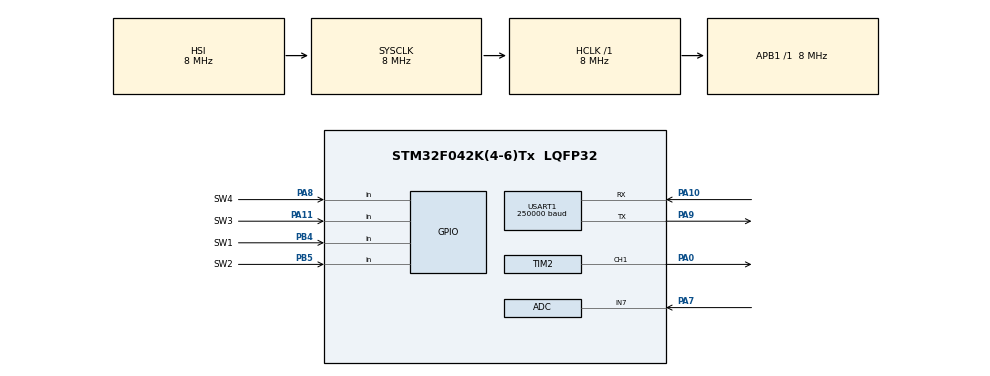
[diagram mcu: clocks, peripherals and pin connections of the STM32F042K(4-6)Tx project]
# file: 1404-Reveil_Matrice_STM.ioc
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ADC.Resolution=ADC_RESOLUTION_8B
Dma.Request0=TIM2_CH1
Dma.Request1=USART1_TX
Dma.TIM2_CH1.0.Direction=DMA_MEMORY_TO_PERIPH
Dma.TIM2_CH1.0.Instance=DMA1_Channel5
Dma.TIM2_CH1.0.MemDataAlignment=DMA_MDATAALIGN_BYTE
Dma.TIM2_CH1.0.MemInc=DMA_MINC_ENABLE
Dma.TIM2_CH1.0.Mode=DMA_CIRCULAR
Dma.TIM2_CH1.0.PeriphDataAlignment=DMA_PDATAALIGN_WORD
Dma.TIM2_CH1.0.PeriphInc=DMA_PINC_DISABLE
Dma.TIM2_CH1.0.Priority=DMA_PRIORITY_HIGH
Dma.USART1_TX.1.Direction=DMA_MEMORY_TO_PERIPH
Dma.USART1_TX.1.Instance=DMA1_Channel2
Dma.USART1_TX.1.MemDataAlignment=DMA_MDATAALIGN_BYTE
Dma.USART1_TX.1.MemInc=DMA_MINC_ENABLE
Dma.USART1_TX.1.Mode=DMA_NORMAL
Dma.USART1_TX.1.PeriphDataAlignment=DMA_PDATAALIGN_BYTE
Dma.USART1_TX.1.PeriphInc=DMA_PINC_DISABLE
Dma.USART1_TX.1.Priority=DMA_PRIORITY_VERY_HIGH
Mcu.Family=STM32F0
Mcu.Name=STM32F042K(4-6)Tx
Mcu.Package=LQFP32
NVIC.DMA1_Channel2_3_IRQn=true\:0\:0\:false\:false\:true\:false\:true\:true
NVIC.DMA1_Channel4_5_IRQn=true\:0\:0\:false\:false\:true\:false\:true\:true
NVIC.USART1_IRQn=true\:0\:0\:false\:false\:true\:true\:true\:true
PA0.Signal=S_TIM2_CH1_ETR
PA10.Mode=Asynchronous
PA10.Signal=USART1_RX
PA11.GPIO_Label=SW3
PA11.Signal=GPIO_Input
PA13.GPIO_Label=SWDIO
PA13.Mode=Serial_Wire
PA13.Signal=SYS_SWDIO
PA14.GPIO_Label=SWCLK
PA14.Mode=Serial_Wire
PA14.Signal=SYS_SWCLK
PA7.Mode=IN7
PA7.Signal=ADC_IN7
PA8.GPIO_Label=SW4
PA8.Signal=GPIO_Input
PA9.Mode=Asynchronous
PA9.Signal=USART1_TX
PB4.GPIO_Label=SW1
PB4.Signal=GPIO_Input
PB5.GPIO_Label=SW2
PB5.Signal=GPIO_Input
PF0-OSC_IN.GPIO_Label=MCO
PF0-OSC_IN.Mode=HSE-External-Clock-Source
PF0-OSC_IN.Signal=RCC_OSC_IN
ProjectManager.HeapSize=0x200
ProjectManager.StackSize=0x400
ProjectManager.TargetToolchain=STM32CubeIDE
RCC.AHBFreq_Value=8000000
RCC.APB1Freq_Value=8000000
RCC.APB1TimFreq_Value=8000000
RCC.HCLKFreq_Value=8000000
RCC.SYSCLKFreq_VALUE=8000000
SH.S_TIM2_CH1_ETR.0=TIM2_CH1,PWM Generation1 CH1
TIM2.Channel-PWM\ Generation1\ CH1=TIM_CHANNEL_1
TIM2.Period=10-1
USART1.BaudRate=250000
USART1.VirtualMode-Asynchronous=VM_ASYNC
VP_TIM2_VS_ClockSourceINT.Mode=Internal
board=NUCLEO-F042K6

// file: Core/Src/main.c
/* USER CODE BEGIN Header */
/**
  ******************************************************************************
  * @file           : main.c
  * @brief          : Main program body
  * @by				: Alberto Lopes
  ******************************************************************************
  * @attention
  *
  * Copyright (c) 2023 STMicroelectronics.
  * All rights reserved.
  *
  * This software is licensed under terms that can be found in the LICENSE file
  * in the root directory of this software component.
  * If no LICENSE file comes with this software, it is provided AS-IS.
  *
  ******************************************************************************
  */
/* USER CODE END Header */
#include "main.h"

ADC_HandleTypeDef hadc;

TIM_HandleTypeDef htim2;
DMA_HandleTypeDef hdma_tim2_ch1;

UART_HandleTypeDef huart1;
DMA_HandleTypeDef hdma_usart1_tx;

void SystemClock_Config(void);
static void MX_GPIO_Init(void);
static void MX_DMA_Init(void);
static void MX_TIM2_Init(void);
static void MX_USART1_UART_Init(void);
static void MX_ADC_Init(void);

/* USER CODE BEGIN 0 */
uint8_t angle = 0;
static uint8_t Heures_brt = 0;
static uint8_t Heures_U = 0;
static uint8_t Heures_D = 0;
static uint8_t Minutes_brt = 0;
static uint8_t Minutes_U = 0;
static uint8_t Minutes_D = 0;
uint8_t Cli = 0;

uint8_t interrupteur1_OLD = 0;
uint8_t interrupteur2_OLD = 0;
uint8_t interrupteur3_OLD = 0;
uint8_t interrupteur4_OLD = 0;

static uint8_t Rx_data[19];

uint16_t step = 0;

uint16_t ReadADC = 0;

bool needMeasure=false;

/* USER CODE END 0 */

int main(void)
{

  /* MCU Configuration--------------------------------------------------------*/

  /* Reset of all peripherals, Initializes the Flash interface and the Systick. */
  HAL_Init();

  /* Configure the system clock */
  SystemClock_Config();

  /* Initialize all configured peripherals */
  MX_GPIO_Init();
  MX_DMA_Init();
  MX_TIM2_Init();
  MX_USART1_UART_Init();
  MX_ADC_Init();
  /* USER CODE BEGIN 2 */
  ws2812_start();
  HAL_UART_Receive_IT(&huart1, Rx_data, 19);
  //HAL_ADC_Calibration_Start(&hadc);

  uint8_t H =0;
  uint8_t facteurLuminosite=255;

  // Déclarez une instance de Canvas
  Canvas myCanvas;
  Canvas blackCanvas;
  // Initialisez la structure Canvas
  myCanvas.numCols = NUM_COLS;
  myCanvas.numRows = NUM_ROWS;
  // Allouez de la mémoire pour les pixels
  myCanvas.pixels = malloc(sizeof(Pixel) * NUM_COLS * NUM_ROWS);
  // Utilisez memset pour initialiser le tableau à zéro
  memset(myCanvas.pixels, 0, sizeof(Pixel) * NUM_COLS * NUM_ROWS);

  blackCanvas.numCols = NUM_COLS;
    blackCanvas.numRows = NUM_ROWS;
    // Allouez de la mémoire pour les pixels
    blackCanvas.pixels = malloc(sizeof(Pixel) * NUM_COLS * NUM_ROWS);
    // Utilisez memset pour initialiser le tableau à zéro
    memset(blackCanvas.pixels, 0, sizeof(Pixel) * NUM_COLS * NUM_ROWS);
  // Vous pouvez maintenant utiliser myCanvas et les pixels initialisé
  setCanvasColor(&blackCanvas, (Pixel){0,0,0});
  /* USER CODE END 2 */

  /* Infinite loop */
  while (1)
  {

    /* USER CODE BEGIN 3 */
//	  HAL_ADC_PollForConversion(&hadc, HAL_MAX_DELAY);
//
//	  ReadADC = HAL_ADC_GetValue(&hadc);

	  if(HAL_UART_Receive_IT(&huart1, Rx_data, 19) != HAL_BUSY)
	  {
		  HAL_UART_Receive_IT(&huart1, Rx_data, 19);
	  }

	  /**********Measure***************/
	  if(needMeasure){
		  facteurLuminosite = flashReadADC(&myCanvas) + LUM_CAL_OFFSET;
		  needMeasure = false;
	  }

	  /**********Background***************/

	  for(uint8_t diag=1; diag<=23; diag++){
		  colorDiagonal(&myCanvas, HSVtoPixel((RB_SPEED*H + (diag* 255 / 23))%255 , (facteurLuminosite*RB_MAX_LUX)/255), diag);
	  }

	  displayBCD(&myCanvas, 2, 3, Heures_D, 2, facteurLuminosite);
	  displayBCD(&myCanvas, 5, 3, Heures_U, 4, facteurLuminosite);
	  displayBCD(&myCanvas, 10, 3, Minutes_D, 4, facteurLuminosite);
	  displayBCD(&myCanvas, 15, 3, Minutes_U, 4, facteurLuminosite);

	  sendCanvas(&myCanvas);

	  H++;
	  if(!((RB_SPEED*H)%255)){
		  H=0;
	  }
  }
  /* USER CODE END 3 */
}

void SystemClock_Config(void)
{
  RCC_OscInitTypeDef RCC_OscInitStruct = {0};
  RCC_ClkInitTypeDef RCC_ClkInitStruct = {0};
  RCC_PeriphCLKInitTypeDef PeriphClkInit = {0};

  /** Initializes the RCC Oscillators according to the specified parameters
  * in the RCC_OscInitTypeDef structure.
  */
  RCC_OscInitStruct.OscillatorType = RCC_OSCILLATORTYPE_HSI|RCC_OSCILLATORTYPE_HSI14;
  RCC_OscInitStruct.HSIState = RCC_HSI_ON;
  RCC_OscInitStruct.HSI14State = RCC_HSI14_ON;
  RCC_OscInitStruct.HSICalibrationValue = RCC_HSICALIBRATION_DEFAULT;
  RCC_OscInitStruct.HSI14CalibrationValue = 16;
  RCC_OscInitStruct.PLL.PLLState = RCC_PLL_NONE;
  if (HAL_RCC_OscConfig(&RCC_OscInitStruct) != HAL_OK)
  {
    Error_Handler();
  }

  /** Initializes the CPU, AHB and APB buses clocks
  */
  RCC_ClkInitStruct.ClockType = RCC_CLOCKTYPE_HCLK|RCC_CLOCKTYPE_SYSCLK
                              |RCC_CLOCKTYPE_PCLK1;
  RCC_ClkInitStruct.SYSCLKSource = RCC_SYSCLKSOURCE_HSI;
  RCC_ClkInitStruct.AHBCLKDivider = RCC_SYSCLK_DIV1;
  RCC_ClkInitStruct.APB1CLKDivider = RCC_HCLK_DIV1;

  if (HAL_RCC_ClockConfig(&RCC_ClkInitStruct, FLASH_LATENCY_0) != HAL_OK)
  {
    Error_Handler();
  }
  PeriphClkInit.PeriphClockSelection = RCC_PERIPHCLK_USART1;
  PeriphClkInit.Usart1ClockSelection = RCC_USART1CLKSOURCE_PCLK1;
  if (HAL_RCCEx_PeriphCLKConfig(&PeriphClkInit) != HAL_OK)
  {
    Error_Handler();
  }
}

static void MX_ADC_Init(void)
{

  ADC_ChannelConfTypeDef sConfig = {0};

  /** Configure the global features of the ADC (Clock, Resolution, Data Alignment and number of conversion)
  */
  hadc.Instance = ADC1;
  hadc.Init.ClockPrescaler = ADC_CLOCK_ASYNC_DIV1;
  hadc.Init.Resolution = ADC_RESOLUTION_8B;
  hadc.Init.DataAlign = ADC_DATAALIGN_RIGHT;
  hadc.Init.ScanConvMode = ADC_SCAN_DIRECTION_FORWARD;
  hadc.Init.EOCSelection = ADC_EOC_SINGLE_CONV;
  hadc.Init.LowPowerAutoWait = DISABLE;
  hadc.Init.LowPowerAutoPowerOff = DISABLE;
  hadc.Init.ContinuousConvMode = DISABLE;
  hadc.Init.DiscontinuousConvMode = DISABLE;
  hadc.Init.ExternalTrigConv = ADC_SOFTWARE_START;
  hadc.Init.ExternalTrigConvEdge = ADC_EXTERNALTRIGCONVEDGE_NONE;
  hadc.Init.DMAContinuousRequests = DISABLE;
  hadc.Init.Overrun = ADC_OVR_DATA_PRESERVED;
  if (HAL_ADC_Init(&hadc) != HAL_OK)
  {
    Error_Handler();
  }

  /** Configure for the selected ADC regular channel to be converted.
  */
  sConfig.Channel = ADC_CHANNEL_7;
  sConfig.Rank = ADC_RANK_CHANNEL_NUMBER;
  sConfig.SamplingTime = ADC_SAMPLETIME_1CYCLE_5;
  if (HAL_ADC_ConfigChannel(&hadc, &sConfig) != HAL_OK)
  {
    Error_Handler();
  }

}

static void MX_TIM2_Init(void)
{

  TIM_ClockConfigTypeDef sClockSourceConfig = {0};
  TIM_MasterConfigTypeDef sMasterConfig = {0};
  TIM_OC_InitTypeDef sConfigOC = {0};

  htim2.Instance = TIM2;
  htim2.Init.Prescaler = 0;
  htim2.Init.CounterMode = TIM_COUNTERMODE_UP;
  htim2.Init.Period = 10-1;
  htim2.Init.ClockDivision = TIM_CLOCKDIVISION_DIV1;
  htim2.Init.AutoReloadPreload = TIM_AUTORELOAD_PRELOAD_DISABLE;
  if (HAL_TIM_Base_Init(&htim2) != HAL_OK)
  {
    Error_Handler();
  }
  sClockSourceConfig.ClockSource = TIM_CLOCKSOURCE_INTERNAL;
  if (HAL_TIM_ConfigClockSource(&htim2, &sClockSourceConfig) != HAL_OK)
  {
    Error_Handler();
  }
  if (HAL_TIM_PWM_Init(&htim2) != HAL_OK)
  {
    Error_Handler();
  }
  sMasterConfig.MasterOutputTrigger = TIM_TRGO_RESET;
  sMasterConfig.MasterSlaveMode = TIM_MASTERSLAVEMODE_DISABLE;
  if (HAL_TIMEx_MasterConfigSynchronization(&htim2, &sMasterConfig) != HAL_OK)
  {
    Error_Handler();
  }
  sConfigOC.OCMode = TIM_OCMODE_PWM1;
  sConfigOC.Pulse = 0;
  sConfigOC.OCPolarity = TIM_OCPOLARITY_HIGH;
  sConfigOC.OCFastMode = TIM_OCFAST_DISABLE;
  if (HAL_TIM_PWM_ConfigChannel(&htim2, &sConfigOC, TIM_CHANNEL_1) != HAL_OK)
  {
    Error_Handler();
  }
  HAL_TIM_MspPostInit(&htim2);

}

static void MX_USART1_UART_Init(void)
{

  huart1.Instance = USART1;
  huart1.Init.BaudRate = 250000;
  huart1.Init.WordLength = UART_WORDLENGTH_8B;
  huart1.Init.StopBits = UART_STOPBITS_1;
  huart1.Init.Parity = UART_PARITY_NONE;
  huart1.Init.Mode = UART_MODE_TX_RX;
  huart1.Init.HwFlowCtl = UART_HWCONTROL_NONE;
  huart1.Init.OverSampling = UART_OVERSAMPLING_16;
  huart1.Init.OneBitSampling = UART_ONE_BIT_SAMPLE_DISABLE;
  huart1.AdvancedInit.AdvFeatureInit = UART_ADVFEATURE_NO_INIT;
  if (HAL_UART_Init(&huart1) != HAL_OK)
  {
    Error_Handler();
  }

}

static void MX_DMA_Init(void)
{

  /* DMA controller clock enable */
  __HAL_RCC_DMA1_CLK_ENABLE();

  /* DMA interrupt init */
  /* DMA1_Channel2_3_IRQn interrupt configuration */
  HAL_NVIC_SetPriority(DMA1_Channel2_3_IRQn, 0, 0);
  HAL_NVIC_EnableIRQ(DMA1_Channel2_3_IRQn);
  /* DMA1_Channel4_5_IRQn interrupt configuration */
  HAL_NVIC_SetPriority(DMA1_Channel4_5_IRQn, 0, 0);
  HAL_NVIC_EnableIRQ(DMA1_Channel4_5_IRQn);

}

static void MX_GPIO_Init(void)
{
  GPIO_InitTypeDef GPIO_InitStruct = {0};

  /* GPIO Ports Clock Enable */
  __HAL_RCC_GPIOF_CLK_ENABLE();
  __HAL_RCC_GPIOA_CLK_ENABLE();
  __HAL_RCC_GPIOB_CLK_ENABLE();

  /*Configure GPIO pins : SW4_Pin SW3_Pin */
  GPIO_InitStruct.Pin = SW4_Pin|SW3_Pin;
  GPIO_InitStruct.Mode = GPIO_MODE_INPUT;
  GPIO_InitStruct.Pull = GPIO_NOPULL;
  HAL_GPIO_Init(GPIOA, &GPIO_InitStruct);

  /*Configure GPIO pins : SW1_Pin SW2_Pin */
  GPIO_InitStruct.Pin = SW1_Pin|SW2_Pin;
  GPIO_InitStruct.Mode = GPIO_MODE_INPUT;
  GPIO_InitStruct.Pull = GPIO_NOPULL;
  HAL_GPIO_Init(GPIOB, &GPIO_InitStruct);

}

/* USER CODE BEGIN 4 */

/******************************************************************************
* Fonction 	HAL_UART_RxCpltCallback											  *
*		Prototype	:void HAL_UART_RxCpltCallback (UART_HandleTypeDef * huart)*
*																		 	  *
*   Description des paramètres:												  *
*			UART qu'on utilise												  *
*																			  *
*		Inclus :	main.c													  *
*																			  *
*	  Description															  *
* Interruption qui va mettre dans des variables la réception UART comme le	  *
* temps										 								  *
******************************************************************************/

void HAL_UART_RxCpltCallback (UART_HandleTypeDef * huart)
{

	if(&huart1 == huart)
	{
		Heures_brt = Rx_data[4];	//Stock le data des heures, "brt" = brute
		Minutes_brt = Rx_data[5];	//Stock le data des minutes

		Heures_U = Heures_brt & 0x0F;	//Traite le data pour avoir l'Unité des Heures

		Heures_D = (Heures_brt & 0xF0) >> 4;	//Traite le data pour avoir la Dizaine des Heures

		Minutes_U = Minutes_brt & 0x0F;	//Traite le data pour avoir l'Unité des Minutes

		Minutes_D = (Minutes_brt & 0xF0) >> 4;	//Traite le data pour avoir la Dizaine des Minutes

		needMeasure = true;

		if(HAL_UART_Receive_IT(&huart1, Rx_data, 19) == HAL_ERROR)	//Réception d'UART lors d'une erreur
		{
			HAL_UART_Receive_IT(&huart1, Rx_data, 19);
		}
	}
}

/******************************************************************************
* Fonction 	HAL_UART_ErrorCallback											  *
*		Prototype	:void HAL_UART_RxCpltCallback (UART_HandleTypeDef * huart)*
*																		 	  *
*   Description des paramètres:												  *
*			UART qu'on utilise												  *
*																			  *
*		Inclus :	main.c													  *
*																			  *
*	  Description															  *
* Interruption lorsqu'il y a un problème dans la transmission UART qui permet *
* de refaire une réception									 				  *
******************************************************************************/

void HAL_UART_ErrorCallback (UART_HandleTypeDef * huart)
{
	if(&huart1 == huart)
	{
		HAL_UART_Receive_IT(&huart1, Rx_data, 19);
	}
}

/******************************************************************************
* Fonction 	LEDs_L_C_RGB													  *
*																		 	  *
*   Description des paramètres:												  *
*			Ligne allant de 0 à 4, Colonne de 0 à 18, Couleur RGB de 0 à 255  *
*																			  *
*		Inclus :	main.c													  *
*																			  *
*	  Description															  *
* Allume la LED qu'on veut grâce aux paramètres "Ligne" et "Colonne".		  *
* Choisi l'intensité des couleurs RGB									 	  *
******************************************************************************/

void LEDs_L_C_RGB (uint8_t Ligne, uint8_t Colonne, uint8_t Red, uint8_t Green, uint8_t Blue)
{
	uint8_t led_l_c[5][19] = {
			{4, 9, 14, 19, 24, 29, 34, 39, 44, 49, 54, 59, 64, 69, 74, 79, 84, 89, 94},	//La 94ème LED n'existe pas sur l'hardware
			{3, 8, 13, 18, 23, 28, 33, 38, 43, 48, 53, 58, 63, 68, 73, 78, 83, 88, 93},
			{2, 7, 12, 17, 22, 27, 32, 37, 42, 47, 52, 57, 62, 67, 72, 77, 82, 87, 92},
			{1, 6, 11, 16, 21, 26, 31, 36, 41, 46, 51, 56, 61, 66, 71, 76, 81, 86, 91},
			{0, 5, 10, 15, 20, 25, 30, 35, 40, 45, 50, 55, 60, 65, 70, 75, 80, 85, 90}
	};

	setLEDcolor(led_l_c[Ligne][Colonne], Red, Green, Blue);
}

/******************************************************************************
* Fonction 	Chara_0															  *
*																		 	  *
*   Description des paramètres:												  *
*			Shift peut contenir ces valeurs :								  *
*				- MinuteUnite												  *
*				- MinuteDizaine												  *
*				- HeureUnite												  *
*				- HeureDizaine												  *
*																			  *
*		Inclus :	main.c													  *
*																			  *
*	  Description															  *
* Dessine la caractère "0" sur la matrice et la positionne aux emplacements	  *
* prédéfini des Heures(unité ou dizaine) et des Minutes(unité ou dizaine)	  *
******************************************************************************/

void Chara_0 (CharShiftTypeDef Shift)
{
	static uint8_t shiftChar;

	/*Décalage du caractère pour le placer dans la colonne des unité/dizaine ; Heure/Minute*/

	switch (Shift)
	{
	case MinuteUnite:
		shiftChar = 14;
		break;

	case MinuteDizaine:
		shiftChar = 10;
		break;

	case HeureUnite:
		shiftChar = 4;
		break;

	case HeureDizaine:
		shiftChar = 0;
		break;

	default:
		break;
	}

	/*Création du caractère 0 sur la matrice*/

	LEDs_L_C_RGB(0, 1+shiftChar, 10, 0, 0);
	LEDs_L_C_RGB(1, 1+shiftChar, 10, 0, 0);
	LEDs_L_C_RGB(2, 1+shiftChar, 10, 0, 0);
	LEDs_L_C_RGB(3, 1+shiftChar, 10, 0, 0);
	LEDs_L_C_RGB(4, 1+shiftChar, 10, 0, 0);

	LEDs_L_C_RGB(0, 2+shiftChar, 10, 0, 0);
	LEDs_L_C_RGB(1, 2+shiftChar, 0, 0, 0);
	LEDs_L_C_RGB(2, 2+shiftChar, 0, 0, 0);
	LEDs_L_C_RGB(3, 2+shiftChar, 0, 0, 0);
	LEDs_L_C_RGB(4, 2+shiftChar, 10, 0, 0);

	LEDs_L_C_RGB(0, 3+shiftChar, 10, 0, 0);
	LEDs_L_C_RGB(1, 3+shiftChar, 10, 0, 0);
	LEDs_L_C_RGB(2, 3+shiftChar, 10, 0, 0);
	LEDs_L_C_RGB(3, 3+shiftChar, 10, 0, 0);
	LEDs_L_C_RGB(4, 3+shiftChar, 10, 0, 0);
}

/******************************************************************************
* Fonction 	Chara_1															  *
*																		 	  *
*   Description des paramètres:												  *
*			Shift peut contenir ces valeurs :								  *
*				- MinuteUnite												  *
*				- MinuteDizaine												  *
*				- HeureUnite												  *
*				- HeureDizaine												  *
*																			  *
*		Inclus :	main.c													  *
*																			  *
*	  Description															  *
* Dessine la caractère "1" sur la matrice et la positionne aux emplacements	  *
* prédéfini des Heures(unité ou dizaine) et des Minutes(unité ou dizaine)	  *
******************************************************************************/

void Chara_1 (CharShiftTypeDef Shift)
{
	static uint8_t shiftChar;

	switch (Shift)
	{
	case MinuteUnite:
		shiftChar = 14;
		break;

	case MinuteDizaine:
		shiftChar = 10;
		break;

	case HeureUnite:
		shiftChar = 4;
		break;

	case HeureDizaine:
		shiftChar = 0;
		break;

	default:
		break;
	}

	LEDs_L_C_RGB(0, 1+shiftChar, 0, 0, 0);
	LEDs_L_C_RGB(1, 1+shiftChar, 10, 0, 0);
	LEDs_L_C_RGB(2, 1+shiftChar, 0, 0, 0);
	LEDs_L_C_RGB(3, 1+shiftChar, 0, 0, 0);
	LEDs_L_C_RGB(4, 1+shiftChar, 10, 0, 0);

	LEDs_L_C_RGB(0, 2+shiftChar, 10, 0, 0);
	LEDs_L_C_RGB(1, 2+shiftChar, 10, 0, 0);
	LEDs_L_C_RGB(2, 2+shiftChar, 10, 0, 0);
	LEDs_L_C_RGB(3, 2+shiftChar, 10, 0, 0);
	LEDs_L_C_RGB(4, 2+shiftChar, 10, 0, 0);

	LEDs_L_C_RGB(0, 3+shiftChar, 0, 0, 0);
	LEDs_L_C_RGB(1, 3+shiftChar, 0, 0, 0);
	LEDs_L_C_RGB(2, 3+shiftChar, 0, 0, 0);
	LEDs_L_C_RGB(3, 3+shiftChar, 0, 0, 0);
	LEDs_L_C_RGB(4, 3+shiftChar, 10, 0, 0);
}

/******************************************************************************
* Fonction 	Chara_2															  *
*																		 	  *
*   Description des paramètres:												  *
*			Shift peut contenir ces valeurs :								  *
*				- MinuteUnite												  *
*				- MinuteDizaine												  *
*				- HeureUnite												  *
*				- HeureDizaine												  *
*																			  *
*		Inclus :	main.c													  *
*																			  *
*	  Description															  *
* Dessine la caractère "2" sur la matrice et la positionne aux emplacements	  *
* prédéfini des Heures(unité ou dizaine) et des Minutes(unité ou dizaine)	  *
******************************************************************************/

void Chara_2 (CharShiftTypeDef Shift)
{
	static uint8_t shiftChar;

	switch (Shift)
	{
	case MinuteUnite:
		shiftChar = 14;
		break;

	case MinuteDizaine:
		shiftChar = 10;
		break;

	case HeureUnite:
		shiftChar = 4;
		break;

	case HeureDizaine:
		shiftChar = 0;
		break;

	default:
		break;
	}

	LEDs_L_C_RGB(0, 1+shiftChar, 10, 0, 0);
	LEDs_L_C_RGB(1, 1+shiftChar, 0, 0, 0);
	LEDs_L_C_RGB(2, 1+shiftChar, 10, 0, 0);
	LEDs_L_C_RGB(3, 1+shiftChar, 10, 0, 0);
	LEDs_L_C_RGB(4, 1+shiftChar, 10, 0, 0);

	LEDs_L_C_RGB(0, 2+shiftChar, 10, 0, 0);
	LEDs_L_C_RGB(1, 2+shiftChar, 0, 0, 0);
	LEDs_L_C_RGB(2, 2+shiftChar, 10, 0, 0);
	LEDs_L_C_RGB(3, 2+shiftChar, 0, 0, 0);
	LEDs_L_C_RGB(4, 2+shiftChar, 10, 0, 0);

	LEDs_L_C_RGB(0, 3+shiftChar, 10, 0, 0);
	LEDs_L_C_RGB(1, 3+shiftChar, 10, 0, 0);
	LEDs_L_C_RGB(2, 3+shiftChar, 10, 0, 0);
	LEDs_L_C_RGB(3, 3+shiftChar, 0, 0, 0);
	LEDs_L_C_RGB(4, 3+shiftChar, 10, 0, 0);
}

/******************************************************************************
* Fonction 	Chara_3															  *
*																		 	  *
*   Description des paramètres:												  *
*			Shift peut contenir ces valeurs :								  *
*				- MinuteUnite												  *
*				- MinuteDizaine												  *
*				- HeureUnite												  *
*				- HeureDizaine												  *
*																			  *
*		Inclus :	main.c													  *
*																			  *
*	  Description															  *
* Dessine la caractère "3" sur la matrice et la positionne aux emplacements	  *
* prédéfini des Heures(unité ou dizaine) et des Minutes(unité ou dizaine)	  *
******************************************************************************/

void Chara_3 (CharShiftTypeDef Shift)
{
	static uint8_t shiftChar;

	switch (Shift)
	{
	case MinuteUnite:
		shiftChar = 14;
		break;

	case MinuteDizaine:
		shiftChar = 10;
		break;

	case HeureUnite:
		shiftChar = 4;
		break;

	case HeureDizaine:
		shiftChar = 0;
		break;

	default:
		break;
	}

	LEDs_L_C_RGB(0, 1+shiftChar, 10, 0, 0);
	LEDs_L_C_RGB(1, 1+shiftChar, 0, 0, 0);
	LEDs_L_C_RGB(2, 1+shiftChar, 10, 0, 0);
	LEDs_L_C_RGB(3, 1+shiftChar, 0, 0, 0);
	LEDs_L_C_RGB(4, 1+shiftChar, 10, 0, 0);

	LEDs_L_C_RGB(0, 2+shiftChar, 10, 0, 0);
	LEDs_L_C_RGB(1, 2+shiftChar, 0, 0, 0);
	LEDs_L_C_RGB(2, 2+shiftChar, 10, 0, 0);
	LEDs_L_C_RGB(3, 2+shiftChar, 0, 0, 0);
	LEDs_L_C_RGB(4, 2+shiftChar, 10, 0, 0);

	LEDs_L_C_RGB(0, 3+shiftChar, 10, 0, 0);
	LEDs_L_C_RGB(1, 3+shiftChar, 10, 0, 0);
	LEDs_L_C_RGB(2, 3+shiftChar, 10, 0, 0);
	LEDs_L_C_RGB(3, 3+shiftChar, 10, 0, 0);
	LEDs_L_C_RGB(4, 3+shiftChar, 10, 0, 0);
}

/******************************************************************************
* Fonction 	Chara_4															  *
*																		 	  *
*   Description des paramètres:												  *
*			Shift peut contenir ces valeurs :								  *
*				- MinuteUnite												  *
*				- MinuteDizaine												  *
*				- HeureUnite												  *
*				- HeureDizaine												  *
*																			  *
*		Inclus :	main.c													  *
*																			  *
*	  Description															  *
* Dessine la caractère "4" sur la matrice et la positionne aux emplacements	  *
* prédéfini des Heures(unité ou dizaine) et des Minutes(unité ou dizaine)	  *
******************************************************************************/

void Chara_4 (CharShiftTypeDef Shift)
{
	static uint8_t shiftChar;

	switch (Shift)
	{
	case MinuteUnite:
		shiftChar = 14;
		break;

	case MinuteDizaine:
		shiftChar = 10;
		break;

	case HeureUnite:
		shiftChar = 4;
		break;

	case HeureDizaine:
		shiftChar = 0;
		break;

	default:
		break;
	}

	LEDs_L_C_RGB(0, 1+shiftChar, 10, 0, 0);
	LEDs_L_C_RGB(1, 1+shiftChar, 10, 0, 0);
	LEDs_L_C_RGB(2, 1+shiftChar, 10, 0, 0);
	LEDs_L_C_RGB(3, 1+shiftChar, 0, 0, 0);
	LEDs_L_C_RGB(4, 1+shiftChar, 0, 0, 0);

	LEDs_L_C_RGB(0, 2+shiftChar, 0, 0, 0);
	LEDs_L_C_RGB(1, 2+shiftChar, 0, 0, 0);
	LEDs_L_C_RGB(2, 2+shiftChar, 10, 0, 0);
	LEDs_L_C_RGB(3, 2+shiftChar, 0, 0, 0);
	LEDs_L_C_RGB(4, 2+shiftChar, 0, 0, 0);

	LEDs_L_C_RGB(0, 3+shiftChar, 10, 0, 0);
	LEDs_L_C_RGB(1, 3+shiftChar, 10, 0, 0);
	LEDs_L_C_RGB(2, 3+shiftChar, 10, 0, 0);
	LEDs_L_C_RGB(3, 3+shiftChar, 10, 0, 0);
	LEDs_L_C_RGB(4, 3+shiftChar, 10, 0, 0);
}

/******************************************************************************
* Fonction 	Chara_5															  *
*																		 	  *
*   Description des paramètres:												  *
*			Shift peut contenir ces valeurs :								  *
*				- MinuteUnite												  *
*				- MinuteDizaine												  *
*				- HeureUnite												  *
*				- HeureDizaine												  *
*																			  *
*		Inclus :	main.c													  *
*																			  *
*	  Description															  *
* Dessine la caractère "5" sur la matrice et la positionne aux emplacements	  *
* prédéfini des Heures(unité ou dizaine) et des Minutes(unité ou dizaine)	  *
******************************************************************************/

void Chara_5 (CharShiftTypeDef Shift)
{
	static uint8_t shiftChar;

	switch (Shift)
	{
	case MinuteUnite:
		shiftChar = 14;
		break;

	case MinuteDizaine:
		shiftChar = 10;
		break;

	case HeureUnite:
		shiftChar = 4;
		break;

	case HeureDizaine:
		shiftChar = 0;
		break;

	default:
		break;
	}

	LEDs_L_C_RGB(0, 1+shiftChar, 10, 0, 0);
	LEDs_L_C_RGB(1, 1+shiftChar, 10, 0, 0);
	LEDs_L_C_RGB(2, 1+shiftChar, 10, 0, 0);
	LEDs_L_C_RGB(3, 1+shiftChar, 0, 0, 0);
	LEDs_L_C_RGB(4, 1+shiftChar, 10, 0, 0);

	LEDs_L_C_RGB(0, 2+shiftChar, 10, 0, 0);
	LEDs_L_C_RGB(1, 2+shiftChar, 0, 0, 0);
	LEDs_L_C_RGB(2, 2+shiftChar, 10, 0, 0);
	LEDs_L_C_RGB(3, 2+shiftChar, 0, 0, 0);
	LEDs_L_C_RGB(4, 2+shiftChar, 10, 0, 0);

	LEDs_L_C_RGB(0, 3+shiftChar, 10, 0, 0);
	LEDs_L_C_RGB(1, 3+shiftChar, 0, 0, 0);
	LEDs_L_C_RGB(2, 3+shiftChar, 10, 0, 0);
	LEDs_L_C_RGB(3, 3+shiftChar, 10, 0, 0);
	LEDs_L_C_RGB(4, 3+shiftChar, 10, 0, 0);
}

/******************************************************************************
* Fonction 	Chara_6															  *
*																		 	  *
*   Description des paramètres:												  *
*			Shift peut contenir ces valeurs :								  *
*				- MinuteUnite												  *
*				- MinuteDizaine												  *
*				- HeureUnite												  *
*				- HeureDizaine												  *
*																			  *
*		Inclus :	main.c													  *
*																			  *
*	  Description															  *
* Dessine la caractère "6" sur la matrice et la positionne aux emplacements	  *
* prédéfini des Heures(unité ou dizaine) et des Minutes(unité ou dizaine)	  *
******************************************************************************/

void Chara_6 (CharShiftTypeDef Shift)
{
	static uint8_t shiftChar;

	switch (Shift)
	{
	case MinuteUnite:
		shiftChar = 14;
		break;

	case MinuteDizaine:
		shiftChar = 10;
		break;

	case HeureUnite:
		shiftChar = 4;
		break;

	case HeureDizaine:
		shiftChar = 0;
		break;

	default:
		break;
	}

	LEDs_L_C_RGB(0, 1+shiftChar, 10, 0, 0);
	LEDs_L_C_RGB(1, 1+shiftChar, 10, 0, 0);
	LEDs_L_C_RGB(2, 1+shiftChar, 10, 0, 0);
	LEDs_L_C_RGB(3, 1+shiftChar, 10, 0, 0);
	LEDs_L_C_RGB(4, 1+shiftChar, 10, 0, 0);

	LEDs_L_C_RGB(0, 2+shiftChar, 10, 0, 0);
	LEDs_L_C_RGB(1, 2+shiftChar, 0, 0, 0);
	LEDs_L_C_RGB(2, 2+shiftChar, 10, 0, 0);
	LEDs_L_C_RGB(3, 2+shiftChar, 0, 0, 0);
	LEDs_L_C_RGB(4, 2+shiftChar, 10, 0, 0);

	LEDs_L_C_RGB(0, 3+shiftChar, 10, 0, 0);
	LEDs_L_C_RGB(1, 3+shiftChar, 0, 0, 0);
	LEDs_L_C_RGB(2, 3+shiftChar, 10, 0, 0);
	LEDs_L_C_RGB(3, 3+shiftChar, 10, 0, 0);
	LEDs_L_C_RGB(4, 3+shiftChar, 10, 0, 0);
}

/******************************************************************************
* Fonction 	Chara_7															  *
*																		 	  *
*   Description des paramètres:												  *
*			Shift peut contenir ces valeurs :								  *
*				- MinuteUnite												  *
*				- MinuteDizaine												  *
*				- HeureUnite												  *
*				- HeureDizaine												  *
*																			  *
*		Inclus :	main.c													  *
*																			  *
*	  Description															  *
* Dessine la caractère "7" sur la matrice et la positionne aux emplacements	  *
* prédéfini des Heures(unité ou dizaine) et des Minutes(unité ou dizaine)	  *
******************************************************************************/

void Chara_7 (CharShiftTypeDef Shift)
{
	static uint8_t shiftChar;

	switch (Shift)
	{
	case MinuteUnite:
		shiftChar = 14;
		break;

	case MinuteDizaine:
		shiftChar = 10;
		break;

	case HeureUnite:
		shiftChar = 4;
		break;

	case HeureDizaine:
		shiftChar = 0;
		break;

	default:
		break;
	}

	LEDs_L_C_RGB(0, 1+shiftChar, 10, 0, 0);
	LEDs_L_C_RGB(1, 1+shiftChar, 0, 0, 0);
	LEDs_L_C_RGB(2, 1+shiftChar, 0, 0, 0);
	LEDs_L_C_RGB(3, 1+shiftChar, 0, 0, 0);
	LEDs_L_C_RGB(4, 1+shiftChar, 0, 0, 0);

	LEDs_L_C_RGB(0, 2+shiftChar, 10, 0, 0);
	LEDs_L_C_RGB(1, 2+shiftChar, 0, 0, 0);
	LEDs_L_C_RGB(2, 2+shiftChar, 0, 0, 0);
	LEDs_L_C_RGB(3, 2+shiftChar, 0, 0, 0);
	LEDs_L_C_RGB(4, 2+shiftChar, 0, 0, 0);

	LEDs_L_C_RGB(0, 3+shiftChar, 10, 0, 0);
	LEDs_L_C_RGB(1, 3+shiftChar, 10, 0, 0);
	LEDs_L_C_RGB(2, 3+shiftChar, 10, 0, 0);
	LEDs_L_C_RGB(3, 3+shiftChar, 10, 0, 0);
	LEDs_L_C_RGB(4, 3+shiftChar, 10, 0, 0);
}

/******************************************************************************
* Fonction 	Chara_8															  *
*																		 	  *
*   Description des paramètres:												  *
*			Shift peut contenir ces valeurs :								  *
*				- MinuteUnite												  *
*				- MinuteDizaine												  *
*				- HeureUnite												  *
*				- HeureDizaine												  *
*																			  *
*		Inclus :	main.c													  *
*																			  *
*	  Description															  *
* Dessine la caractère "8" sur la matrice et la positionne aux emplacements	  *
* prédéfini des Heures(unité ou dizaine) et des Minutes(unité ou dizaine)	  *
******************************************************************************/

void Chara_8 (CharShiftTypeDef Shift)
{
	static uint8_t shiftChar;

	switch (Shift)
	{
	case MinuteUnite:
		shiftChar = 14;
		break;

	case MinuteDizaine:
		shiftChar = 10;
		break;

	case HeureUnite:
		shiftChar = 4;
		break;

	case HeureDizaine:
		shiftChar = 0;
		break;

	default:
		break;
	}

	LEDs_L_C_RGB(0, 1+shiftChar, 10, 0, 0);
	LEDs_L_C_RGB(1, 1+shiftChar, 10, 0, 0);
	LEDs_L_C_RGB(2, 1+shiftChar, 10, 0, 0);
	LEDs_L_C_RGB(3, 1+shiftChar, 10, 0, 0);
	LEDs_L_C_RGB(4, 1+shiftChar, 10, 0, 0);

	LEDs_L_C_RGB(0, 2+shiftChar, 10, 0, 0);
	LEDs_L_C_RGB(1, 2+shiftChar, 0, 0, 0);
	LEDs_L_C_RGB(2, 2+shiftChar, 10, 0, 0);
	LEDs_L_C_RGB(3, 2+shiftChar, 0, 0, 0);
	LEDs_L_C_RGB(4, 2+shiftChar, 10, 0, 0);

	LEDs_L_C_RGB(0, 3+shiftChar, 10, 0, 0);
	LEDs_L_C_RGB(1, 3+shiftChar, 10, 0, 0);
	LEDs_L_C_RGB(2, 3+shiftChar, 10, 0, 0);
	LEDs_L_C_RGB(3, 3+shiftChar, 10, 0, 0);
	LEDs_L_C_RGB(4, 3+shiftChar, 10, 0, 0);
}

/******************************************************************************
* Fonction 	Chara_9															  *
*																		 	  *
*   Description des paramètres:												  *
*			Shift peut contenir ces valeurs :								  *
*				- MinuteUnite												  *
*				- MinuteDizaine												  *
*				- HeureUnite												  *
*				- HeureDizaine												  *
*																			  *
*		Inclus :	main.c													  *
*																			  *
*	  Description															  *
* Dessine la caractère "9" sur la matrice et la positionne aux emplacements	  *
* prédéfini des Heures(unité ou dizaine) et des Minutes(unité ou dizaine)	  *
******************************************************************************/

void Chara_9 (CharShiftTypeDef Shift)
{
	static uint8_t shiftChar;

	switch (Shift)
	{
	case MinuteUnite:
		shiftChar = 14;
		break;

	case MinuteDizaine:
		shiftChar = 10;
		break;

	case HeureUnite:
		shiftChar = 4;
		break;

	case HeureDizaine:
		shiftChar = 0;
		break;

	default:
		break;
	}

	LEDs_L_C_RGB(0, 1+shiftChar, 10, 0, 0);
	LEDs_L_C_RGB(1, 1+shiftChar, 10, 0, 0);
	LEDs_L_C_RGB(2, 1+shiftChar, 10, 0, 0);
	LEDs_L_C_RGB(3, 1+shiftChar, 0, 0, 0);
	LEDs_L_C_RGB(4, 1+shiftChar, 10, 0, 0);

	LEDs_L_C_RGB(0, 2+shiftChar, 10, 0, 0);
	LEDs_L_C_RGB(1, 2+shiftChar, 0, 0, 0);
	LEDs_L_C_RGB(2, 2+shiftChar, 10, 0, 0);
	LEDs_L_C_RGB(3, 2+shiftChar, 0, 0, 0);
	LEDs_L_C_RGB(4, 2+shiftChar, 10, 0, 0);

	LEDs_L_C_RGB(0, 3+shiftChar, 10, 0, 0);
	LEDs_L_C_RGB(1, 3+shiftChar, 10, 0, 0);
	LEDs_L_C_RGB(2, 3+shiftChar, 10, 0, 0);
	LEDs_L_C_RGB(3, 3+shiftChar, 10, 0, 0);
	LEDs_L_C_RGB(4, 3+shiftChar, 10, 0, 0);
}

/******************************************************************************
* Fonction 	Clignotement1S													  *
*																		 	  *
*   Description des paramètres:												  *
*			Aucun															  *
*																			  *
*		Inclus :	main.c													  *
*																			  *
*	  Description															  *
* Fait clignoter les deux LEDs qui sépare les heures des minutes chaque		  *
* seconde																	  *
******************************************************************************/

void Clignotement1S (void)
{
	static uint16_t ComptX1000 = 0;

	/*Compte une seconde éteint et allumé*/

	if (ComptX1000 <= 42)
	{
		LEDs_L_C_RGB(1, 9, 10, 0, 0);
		LEDs_L_C_RGB(3, 9, 10, 0, 0);
	}
	else
	{
		LEDs_L_C_RGB(1, 9, 0, 0, 0);
		LEDs_L_C_RGB(3, 9, 0, 0, 0);
	}

	ComptX1000++;

	if(ComptX1000 >= 84) //Remise à zéro du compteur
	{
		ComptX1000 = 0;
	}
}

//uint8_t SetBrightness (uint16_t ValLum)
//{
//	uint8_t ChangeLum;
//
//
//}

/* USER CODE END 4 */

void Error_Handler(void)
{
  __disable_irq();
  while (1)
  {
  }
}
